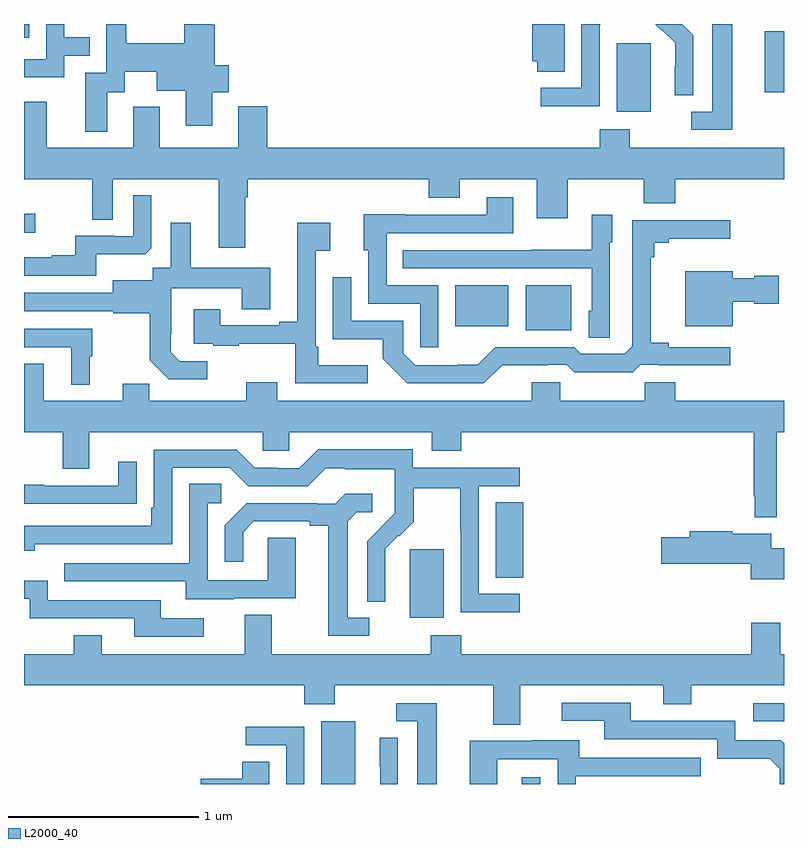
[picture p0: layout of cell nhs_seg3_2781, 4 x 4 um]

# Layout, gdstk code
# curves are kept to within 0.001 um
import gdstk
lib = gdstk.Library(unit=1e-6, precision=1e-09)
def R(c, l, rs):  # rectangles x0, y0, x1, y1
    for r in rs: c.add(gdstk.rectangle(r[:2], r[2:], *l))
def P(c, l, *ps):  # polygons
    for p in ps: c.add(gdstk.Polygon(p, *l))
L2000_40 = (2000, 40)

nhs_seg3_2781 = lib.new_cell('nhs_seg3_2781')
R(nhs_seg3_2781, L2000_40, [(256.565,696.4,256.744,696.73), (257.621,696.4,257.718,696.436), (258.837,696.729,259,696.825), (257.03,697.274,257.209,697.635), (257.483,697.486,257.627,697.883), (257.642,698.789,257.881,699.025), (257.27,698.81,257.548,699.025), (255,699.302,255.058,699.401), (258.119,699.938,258.298,700.299), (258.899,700.041,259,700.361), (255,700.328,255.028,700.4)])
P(nhs_seg3_2781, L2000_40, [(255.213,700.233),(255.347,700.233),(255.347,700.329),(255.213,700.329),(255.213,700.4),(255.117,700.4),(255.117,700.215),(255,700.215),(255,700.119),(255.213,700.119)],
  [(255.439,700.042),(255.529,700.042),(255.529,700.148),(255.698,700.148),(255.698,700.049),(255.851,700.049),(255.851,699.864),(255.991,699.864),(255.991,700.042),(256.078,700.042),(256.078,700.184),(256.004,700.184),(256.004,700.396),(255.991,700.396),(255.991,700.4),(255.844,700.4),(255.844,700.3),(255.537,700.3),(255.537,700.4),(255.432,700.4),(255.432,700.143),(255.323,700.143),(255.323,699.834),(255.439,699.834)],
  [(258.03,700.396),(258.033,700.396),(258.033,700.4),(257.934,700.4),(257.934,700.065),(257.721,700.065),(257.721,699.967),(258.03,699.967)],
  [(258.522,700.342),(258.464,700.4),(258.322,700.4),(258.354,700.368),(258.357,700.371),(258.428,700.301),(258.428,700.178),(258.426,700.178),(258.426,700.024),(258.522,700.024)],
  [(258.727,700.4),(258.623,700.4),(258.623,699.939),(258.513,699.939),(258.513,699.843),(258.727,699.843)],
  [(257.845,700.4),(257.675,700.4),(257.675,700.203),(257.702,700.203),(257.702,700.15),(257.845,700.15)],
  [(256.165,699.488),(256.178,699.488),(256.178,699.584),(257.129,699.584),(257.129,699.485),(257.293,699.485),(257.293,699.584),(257.699,699.584),(257.699,699.378),(257.863,699.378),(257.863,699.584),(258.263,699.584),(258.263,699.456),(258.427,699.456),(258.427,699.584),(259,699.584),(259,699.748),(258.189,699.748),(258.189,699.847),(258.029,699.847),(258.029,699.748),(256.279,699.748),(256.279,699.967),(256.127,699.967),(256.127,699.748),(255.715,699.748),(255.715,699.964),(255.575,699.964),(255.575,699.748),(255.121,699.748),(255.121,699.991),(255,699.991),(255,699.584),(255.36,699.584),(255.36,699.37),(255.468,699.37),(255.468,699.584),(256.025,699.584),(256.025,699.222),(256.165,699.222)],
  [(255.379,699.188),(255.637,699.188),(255.669,699.219),(255.669,699.499),(255.576,699.499),(255.576,699.282),(255.476,699.282),(255.476,699.285),(255.269,699.285),(255.269,699.184),(255.145,699.184),(255.145,699.172),(255.001,699.172),(255.001,699.075),(255.379,699.075)],
  [(257.181,699.024),(256.908,699.024),(256.908,699.3),(257.575,699.3),(257.575,699.487),(257.435,699.487),(257.435,699.396),(257.005,699.396),(257.005,699.398),(256.787,699.398),(256.787,699.21),(256.812,699.21),(256.812,698.928),(257.085,698.928),(257.085,698.7),(257.181,698.7)],
  [(258.084,699.252),(258.097,699.252),(258.097,699.397),(257.988,699.397),(257.988,699.211),(257.671,699.211),(257.671,699.21),(256.993,699.21),(256.993,699.114),(257.988,699.114),(257.988,698.892),(257.972,698.892),(257.972,698.749),(258.084,698.749)],
  [(257.516,698.603),(257.756,698.603),(257.756,698.607),(257.856,698.607),(257.896,698.568),(258.203,698.568),(258.243,698.607),(258.337,698.607),(258.337,698.603),(258.718,698.603),(258.718,698.7),(258.394,698.7),(258.394,698.723),(258.299,698.723),(258.299,699.173),(258.317,699.173),(258.317,699.25),(258.394,699.25),(258.394,699.269),(258.718,699.269),(258.718,699.366),(258.201,699.366),(258.201,698.703),(258.162,698.664),(257.931,698.664),(257.895,698.7),(257.481,698.7),(257.387,698.606),(257.282,698.606),(257.282,698.604),(257.058,698.604),(256.995,698.667),(256.995,698.838),(256.722,698.838),(256.722,699.067),(256.626,699.067),(256.626,698.741),(256.888,698.741),(256.888,698.639),(257.018,698.508),(257.421,698.508)],
  [(256.81,698.605),(256.549,698.605),(256.549,698.701),(256.536,698.701),(256.536,699.206),(256.612,699.206),(256.612,699.355),(256.439,699.355),(256.439,698.833),(256.343,698.833),(256.343,698.814),(256.033,698.814),(256.033,698.899),(255.893,698.899),(255.893,698.718),(255.997,698.718),(255.997,698.706),(256.129,698.706),(256.129,698.717),(256.428,698.717),(256.428,698.508),(256.81,698.508)],
  [(255.964,698.625),(255.819,698.625),(255.772,698.672),(255.772,698.767),(255.774,698.767),(255.774,699.008),(256.145,699.008),(256.145,698.899),(256.297,698.899),(256.297,699.118),(255.877,699.118),(255.877,699.355),(255.773,699.355),(255.773,699.116),(255.678,699.116),(255.678,699.052),(255.467,699.052),(255.467,698.985),(255,698.985),(255,698.889),(255.471,698.889),(255.471,698.877),(255.663,698.877),(255.663,698.631),(255.763,698.531),(255.964,698.531)],
  [(258.73,698.939),(258.843,698.939),(258.843,698.927),(258.973,698.927),(258.973,699.074),(258.843,699.074),(258.843,699.061),(258.73,699.061),(258.73,699.1),(258.479,699.1),(258.479,698.81),(258.73,698.81)],
  [(255.346,698.652),(255.358,698.652),(255.358,698.796),(255,698.796),(255,698.7),(255.248,698.7),(255.248,698.501),(255.346,698.501)],
  [(256.169,698.515),(256.169,698.416),(255.659,698.416),(255.659,698.507),(255.521,698.507),(255.521,698.416),(255.103,698.416),(255.103,698.611),(255,698.611),(255,698.252),(255.203,698.252),(255.203,698.058),(255.343,698.058),(255.343,698.252),(256.257,698.252),(256.257,698.154),(256.395,698.154),(256.395,698.252),(257.147,698.252),(257.147,698.153),(257.3,698.153),(257.3,698.252),(258.84,698.252),(258.84,697.915),(258.847,697.915),(258.847,697.803),(258.961,697.803),(258.961,698.252),(259,698.252),(259,698.416),(258.428,698.416),(258.428,698.514),(258.267,698.514),(258.267,698.416),(257.823,698.416),(257.823,698.514),(257.672,698.514),(257.672,698.416),(256.333,698.416),(256.333,698.515)],
  [(257.608,697.401),(257.394,697.401),(257.394,697.968),(257.608,697.968),(257.608,698.064),(257.046,698.064),(257.046,698.161),(256.549,698.161),(256.449,698.061),(256.334,698.061),(256.334,698.064),(256.215,698.064),(256.119,698.16),(255.684,698.16),(255.684,697.855),(255.671,697.855),(255.671,697.758),(255,697.758),(255,697.628),(255.056,697.628),(255.056,697.662),(255.78,697.662),(255.78,698.064),(256.083,698.064),(256.179,697.968),(256.494,697.968),(256.587,698.061),(256.687,698.061),(256.687,698.057),(256.95,698.057),(256.95,697.923),(256.952,697.923),(256.952,697.826),(256.806,697.678),(256.806,697.36),(256.902,697.36),(256.901,697.637),(256.971,697.707),(256.974,697.704),(257.051,697.781),(257.051,697.956),(257.296,697.956),(257.296,697.732),(257.298,697.732),(257.298,697.303),(257.608,697.303)],
  [(255.491,697.876),(255.593,697.876),(255.593,698.095),(255.497,698.095),(255.497,697.971),(255.107,697.971),(255.107,697.976),(255,697.976),(255,697.875),(255.491,697.875)],
  [(256.105,697.377),(256.429,697.377),(256.429,697.697),(256.284,697.697),(256.284,697.473),(255.966,697.473),(255.966,697.878),(256.039,697.878),(256.039,697.979),(255.87,697.979),(255.87,697.563),(255.211,697.563),(255.211,697.467),(255.851,697.467),(255.851,697.373),(256.105,697.373)],
  [(256.816,697.275),(256.705,697.275),(256.705,697.783),(256.752,697.83),(256.834,697.83),(256.834,697.927),(256.69,697.927),(256.638,697.875),(256.544,697.875),(256.544,697.878),(256.172,697.878),(256.056,697.762),(256.056,697.569),(256.153,697.569),(256.153,697.725),(256.21,697.782),(256.505,697.782),(256.505,697.76),(256.601,697.76),(256.601,697.179),(256.816,697.179)],
  [(259,697.642),(258.934,697.642),(258.934,697.717),(258.728,697.717),(258.728,697.73),(258.503,697.73),(258.503,697.7),(258.354,697.7),(258.354,697.558),(258.824,697.558),(258.824,697.478),(259,697.478)],
  [(255.946,697.272),(255.721,697.272),(255.721,697.368),(255.126,697.368),(255.126,697.471),(255,697.471),(255,697.374),(255.03,697.374),(255.03,697.272),(255.581,697.272),(255.581,697.176),(255.946,697.176)],
  [(257.611,696.92),(258.365,696.92),(258.365,696.821),(258.513,696.821),(258.513,696.92),(259,696.92),(259,697.084),(258.979,697.084),(258.979,697.249),(258.827,697.249),(258.827,697.084),(257.3,697.084),(257.3,697.183),(257.14,697.183),(257.14,697.084),(256.303,697.084),(256.303,697.292),(256.163,697.292),(256.163,697.084),(255.409,697.084),(255.409,697.183),(255.262,697.183),(255.262,697.084),(255,697.084),(255,696.92),(256.475,696.92),(256.475,696.821),(256.635,696.821),(256.635,696.92),(257.471,696.92),(257.471,696.712),(257.611,696.712)],
  [(259,696.614),(258.984,696.63),(258.744,696.63),(258.744,696.732),(258.193,696.732),(258.193,696.828),(257.829,696.828),(257.829,696.732),(258.053,696.732),(258.053,696.636),(258.648,696.636),(258.648,696.533),(258.925,696.533),(258.978,696.48),(258.978,696.4),(259,696.4)],
  [(257.173,696.825),(256.959,696.825),(256.959,696.729),(257.069,696.729),(257.069,696.4),(257.173,696.4)],
  [(256.476,696.702),(256.166,696.702),(256.166,696.603),(256.38,696.603),(256.38,696.4),(256.476,696.4)],
  [(256.968,696.644),(256.872,696.644),(256.872,696.49),(256.874,696.49),(256.874,696.4),(256.968,696.4)],
  [(257.49,696.531),(257.808,696.531),(257.808,696.4),(257.904,696.4),(257.904,696.441),(258.563,696.441),(258.563,696.537),(257.923,696.537),(257.923,696.631),(257.669,696.631),(257.669,696.627),(257.345,696.627),(257.345,696.4),(257.49,696.4)],
  [(256.291,696.518),(256.148,696.518),(256.148,696.428),(255.93,696.428),(255.93,696.4),(256.291,696.4)])

lib.write_gds('nhs_seg3_2781.gds')
